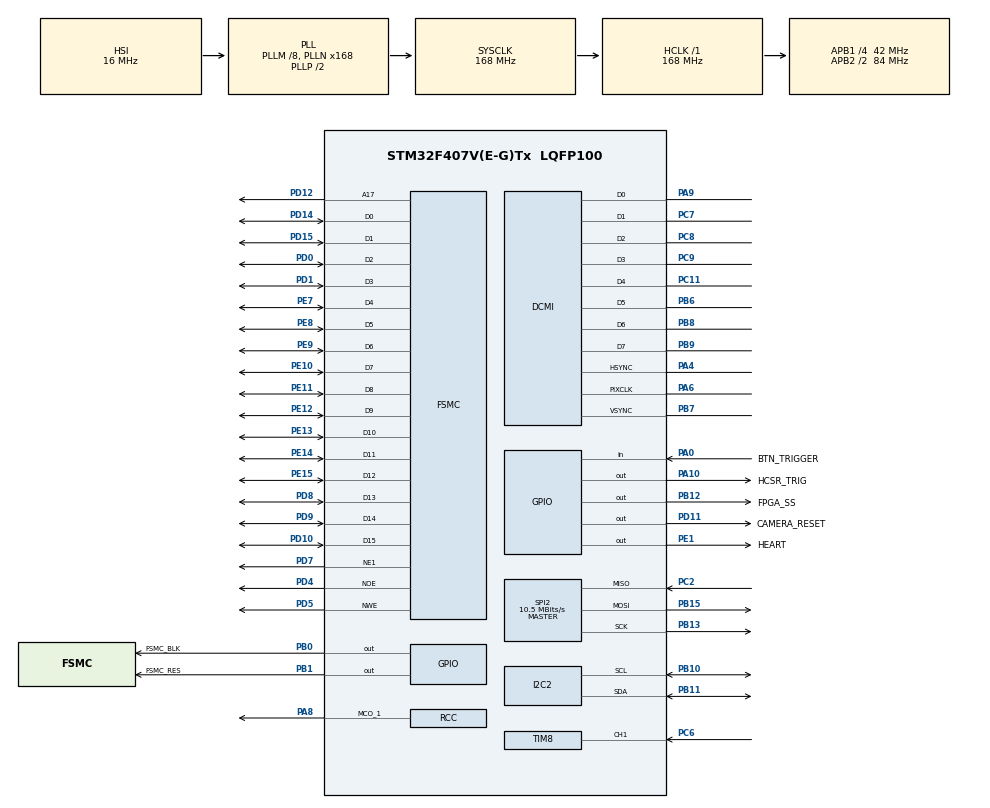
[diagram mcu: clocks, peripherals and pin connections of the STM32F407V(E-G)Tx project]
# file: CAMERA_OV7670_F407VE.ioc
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DCMI.HSPolarity=DCMI_HSPOLARITY_LOW
DCMI.PCKPolarity=DCMI_PCKPOLARITY_RISING
DCMI.VSPolarity=DCMI_VSPOLARITY_HIGH
Dma.DCMI.0.Direction=DMA_PERIPH_TO_MEMORY
Dma.DCMI.0.FIFOMode=DMA_FIFOMODE_DISABLE
Dma.DCMI.0.Instance=DMA2_Stream1
Dma.DCMI.0.MemDataAlignment=DMA_MDATAALIGN_WORD
Dma.DCMI.0.MemInc=DMA_MINC_DISABLE
Dma.DCMI.0.Mode=DMA_NORMAL
Dma.DCMI.0.PeriphDataAlignment=DMA_PDATAALIGN_WORD
Dma.DCMI.0.PeriphInc=DMA_PINC_DISABLE
Dma.DCMI.0.Priority=DMA_PRIORITY_LOW
Dma.Request0=DCMI
FSMC.AddressSetupTime1=0xf
FSMC.BusTurnAroundDuration1=0
FSMC.DataSetupTime1=60
FSMC.ExtendedAddressSetupTime1=8
FSMC.ExtendedBusTurnAroundDuration1=0
FSMC.ExtendedDataSetupTime1=9
FSMC.ExtendedMode1=FSMC_EXTENDED_MODE_ENABLE
Mcu.Family=STM32F4
Mcu.Name=STM32F407V(E-G)Tx
Mcu.Package=LQFP100
NVIC.DCMI_IRQn=true\:0\:0\:false\:false\:true\:true\:true
NVIC.DMA2_Stream1_IRQn=true\:0\:0\:false\:false\:true\:false\:true
NVIC.I2C2_ER_IRQn=true\:0\:0\:false\:false\:true\:true\:true
NVIC.I2C2_EV_IRQn=true\:0\:0\:false\:false\:true\:true\:true
NVIC.PriorityGroup=NVIC_PRIORITYGROUP_4
NVIC.TIM2_IRQn=true\:0\:0\:false\:false\:true\:true\:true
NVIC.TIM3_IRQn=true\:0\:0\:false\:false\:true\:true\:true
NVIC.TIM8_CC_IRQn=true\:0\:0\:false\:false\:true\:true\:true
PA0-WKUP.GPIO_Label=BTN_TRIGGER
PA0-WKUP.GPIO_PuPd=GPIO_PULLDOWN
PA0-WKUP.Signal=GPIO_Input
PA10.GPIO_Label=HCSR_TRIG
PA10.Signal=GPIO_Output
PA13.Mode=Serial_Wire
PA13.Signal=SYS_JTMS-SWDIO
PA14.Mode=Serial_Wire
PA14.Signal=SYS_JTCK-SWCLK
PA4.GPIO_PuPd=GPIO_PULLDOWN
PA4.GPIO_Speed=GPIO_SPEED_FREQ_VERY_HIGH
PA4.Mode=Slave_8_bits_External_Synchro
PA4.Signal=DCMI_HSYNC
PA6.GPIO_PuPd=GPIO_PULLDOWN
PA6.GPIO_Speed=GPIO_SPEED_FREQ_VERY_HIGH
PA6.Mode=Slave_8_bits_External_Synchro
PA6.Signal=DCMI_PIXCLK
PA8.GPIO_PuPd=GPIO_PULLUP
PA8.GPIO_Speed=GPIO_SPEED_FREQ_VERY_HIGH
PA8.Mode=Clock-out-1
PA8.Signal=RCC_MCO_1
PA9.GPIO_PuPd=GPIO_PULLDOWN
PA9.GPIO_Speed=GPIO_SPEED_FREQ_VERY_HIGH
PA9.Mode=Slave_8_bits_External_Synchro
PA9.Signal=DCMI_D0
PB0.GPIO_Label=FSMC_BLK
PB0.Signal=GPIO_Output
PB1.GPIO_Label=FSMC_RES
PB1.Signal=GPIO_Output
PB10.GPIO_Pu=GPIO_PULLUP
PB10.Mode=I2C
PB10.Signal=I2C2_SCL
PB11.GPIO_Pu=GPIO_PULLUP
PB11.Mode=I2C
PB11.Signal=I2C2_SDA
PB12.GPIO_Label=FPGA_SS
PB12.Signal=GPIO_Output
PB13.Mode=Full_Duplex_Master
PB13.Signal=SPI2_SCK
PB15.Mode=Full_Duplex_Master
PB15.Signal=SPI2_MOSI
PB6.GPIO_PuPd=GPIO_PULLDOWN
PB6.GPIO_Speed=GPIO_SPEED_FREQ_VERY_HIGH
PB6.Mode=Slave_8_bits_External_Synchro
PB6.Signal=DCMI_D5
PB7.GPIO_PuPd=GPIO_PULLDOWN
PB7.GPIO_Speed=GPIO_SPEED_FREQ_VERY_HIGH
PB7.Mode=Slave_8_bits_External_Synchro
PB7.Signal=DCMI_VSYNC
PB8.GPIO_PuPd=GPIO_PULLDOWN
PB8.GPIO_Speed=GPIO_SPEED_FREQ_VERY_HIGH
PB8.Mode=Slave_8_bits_External_Synchro
PB8.Signal=DCMI_D6
PB9.GPIO_PuPd=GPIO_PULLDOWN
PB9.GPIO_Speed=GPIO_SPEED_FREQ_VERY_HIGH
PB9.Mode=Slave_8_bits_External_Synchro
PB9.Signal=DCMI_D7
PC11.GPIO_PuPd=GPIO_PULLDOWN
PC11.GPIO_Speed=GPIO_SPEED_FREQ_VERY_HIGH
PC11.Mode=Slave_8_bits_External_Synchro
PC11.Signal=DCMI_D4
PC2.Mode=Full_Duplex_Master
PC2.Signal=SPI2_MISO
PC6.Signal=S_TIM8_CH1
PC7.GPIO_PuPd=GPIO_PULLDOWN
PC7.GPIO_Speed=GPIO_SPEED_FREQ_VERY_HIGH
PC7.Mode=Slave_8_bits_External_Synchro
PC7.Signal=DCMI_D1
PC8.GPIO_PuPd=GPIO_PULLDOWN
PC8.GPIO_Speed=GPIO_SPEED_FREQ_VERY_HIGH
PC8.Mode=Slave_8_bits_External_Synchro
PC8.Signal=DCMI_D2
PC9.GPIO_PuPd=GPIO_PULLDOWN
PC9.GPIO_Speed=GPIO_SPEED_FREQ_VERY_HIGH
PC9.Mode=Slave_8_bits_External_Synchro
PC9.Signal=DCMI_D3
PD0.Mode=16b-d1
PD0.Signal=FSMC_D2
PD1.Mode=16b-d1
PD1.Signal=FSMC_D3
PD10.Mode=16b-d1
PD10.Signal=FSMC_D15
PD11.GPIO_Label=CAMERA_RESET
PD11.GPIO_PuPd=GPIO_NOPULL
PD11.Signal=GPIO_Output
PD12.Mode=A17_1
PD12.Signal=FSMC_A17
PD14.Mode=16b-d1
PD14.Signal=FSMC_D0
PD15.Mode=16b-d1
PD15.Signal=FSMC_D1
PD4.Mode=Lcd1
PD4.Signal=FSMC_NOE
PD5.Mode=Lcd1
PD5.Signal=FSMC_NWE
PD7.Mode=NorPsramChipSelect1_1
PD7.Signal=FSMC_NE1
PD8.Mode=16b-d1
PD8.Signal=FSMC_D13
PD9.Mode=16b-d1
PD9.Signal=FSMC_D14
PE1.GPIO_Label=HEART
PE1.Signal=GPIO_Output
PE10.Mode=16b-d1
PE10.Signal=FSMC_D7
PE11.Mode=16b-d1
PE11.Signal=FSMC_D8
PE12.Mode=16b-d1
PE12.Signal=FSMC_D9
PE13.Mode=16b-d1
PE13.Signal=FSMC_D10
PE14.Mode=16b-d1
PE14.Signal=FSMC_D11
PE15.Mode=16b-d1
PE15.Signal=FSMC_D12
PE7.Mode=16b-d1
PE7.Signal=FSMC_D4
PE8.Mode=16b-d1
PE8.Signal=FSMC_D5
PE9.Mode=16b-d1
PE9.Signal=FSMC_D6
PH0-OSC_IN.Mode=HSE-External-Oscillator
PH0-OSC_IN.Signal=RCC_OSC_IN
PH1-OSC_OUT.Mode=HSE-External-Oscillator
PH1-OSC_OUT.Signal=RCC_OSC_OUT
ProjectManager.HeapSize=0x200
ProjectManager.StackSize=0x400
ProjectManager.TargetToolchain=STM32CubeIDE
RCC.48MHZClocksFreq_Value=48000000
RCC.AHBFreq_Value=168000000
RCC.APB1CLKDivider=RCC_HCLK_DIV4
RCC.APB1Freq_Value=42000000
RCC.APB1TimFreq_Value=84000000
RCC.APB2CLKDivider=RCC_HCLK_DIV2
RCC.APB2Freq_Value=84000000
RCC.APB2TimFreq_Value=168000000
RCC.CortexFreq_Value=168000000
RCC.HCLKFreq_Value=168000000
RCC.HSE_VALUE=8000000
RCC.HSI_VALUE=16000000
RCC.LSE_VALUE=32768
RCC.PLLM=8
RCC.PLLN=168
RCC.PLLQ=7
RCC.SYSCLKFreq_VALUE=168000000
RCC.SYSCLKSource=RCC_SYSCLKSOURCE_PLLCLK
RCC.VCOOutputFreq_Value=336000000
SH.S_TIM8_CH1.0=TIM8_CH1,Input_Capture1_from_TI1
SPI2.BaudRatePrescaler=SPI_BAUDRATEPRESCALER_4
SPI2.CalculateBaudRate=10.5 MBits/s
SPI2.Direction=SPI_DIRECTION_2LINES
SPI2.Mode=SPI_MODE_MASTER
SPI2.VirtualType=VM_MASTER
TIM2.Period=16
TIM2.Prescaler=0
TIM3.Period=99
TIM3.Prescaler=16799
TIM8.Channel-Input_Capture1_from_TI1=TIM_CHANNEL_1
TIM8.Period=0xffff
TIM8.Prescaler=168-1
VP_TIM2_VS_ClockSourceINT.Mode=Internal
VP_TIM3_VS_ClockSourceINT.Mode=Internal
board=custom

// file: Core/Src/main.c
/* USER CODE BEGIN Header */
/**
  ******************************************************************************
  * @file           : main.c
  * @brief          : Main program body
  ******************************************************************************
  * @attention
  *
  * <h2><center>&copy; Copyright (c) 2025 STMicroelectronics.
  * All rights reserved.</center></h2>
  *
  * This software component is licensed by ST under BSD 3-Clause license,
  * the "License"; You may not use this file except in compliance with the
  * License. You may obtain a copy of the License at:
  *                        opensource.org/licenses/BSD-3-Clause
  *
  ******************************************************************************
  */
/* USER CODE END Header */
#include "main.h"

/* USER CODE BEGIN PD */
#define FRAME_WIDTH 	160
#define FRAME_HEIGHT	120
/* USER CODE END PD */

DCMI_HandleTypeDef hdcmi;
DMA_HandleTypeDef hdma_dcmi;

I2C_HandleTypeDef hi2c2;

SPI_HandleTypeDef hspi2;

TIM_HandleTypeDef htim2;
TIM_HandleTypeDef htim3;
TIM_HandleTypeDef htim8;

SRAM_HandleTypeDef hsram1;

void SystemClock_Config(void);
static void MX_GPIO_Init(void);
static void MX_DCMI_Init(void);
static void MX_DMA_Init(void);
static void MX_FSMC_Init(void);
static void MX_I2C2_Init(void);
static void MX_TIM2_Init(void);
static void MX_TIM8_Init(void);
static void MX_TIM3_Init(void);
static void MX_SPI2_Init(void);

/* USER CODE BEGIN 0 */
int frame_captured = 0;
int cam_busy = 0;

uint8_t buf[160*120];

/* USER CODE END 0 */

int main(void)
{

  /* MCU Configuration--------------------------------------------------------*/

  /* Reset of all peripherals, Initializes the Flash interface and the Systick. */
  HAL_Init();

  /* Configure the system clock */
  SystemClock_Config();

  /* Initialize all configured peripherals */
  MX_GPIO_Init();
  MX_DMA_Init();
  MX_DCMI_Init();
  MX_FSMC_Init();
  MX_I2C2_Init();
  MX_TIM2_Init();
  MX_TIM8_Init();
  MX_TIM3_Init();
  MX_SPI2_Init();
  /* USER CODE BEGIN 2 */
  HAL_TIM_IC_Start_IT(&htim8, TIM_CHANNEL_1);
  HAL_TIM_Base_Start_IT(&htim3);

  uint16_t* pData;
  lcd_ILI_init();
  HAL_Delay(1000);
  ov7670_init(&hdcmi, &hdma_dcmi, &hi2c2);
  ov7670_config();

  lcd_ILI_draw_rect(0, 0, LCD_ILI_WIDTH, LCD_ILI_HEIGHT, COLOR_RED);
  HAL_Delay(1000);

  /* USER CODE END 2 */

  /* Infinite loop */
  /* USER CODE BEGIN WHILE */

    while (1)
    {
    	if((is_object_arrived() || HAL_GPIO_ReadPin(GPIOA, GPIO_PIN_0) == GPIO_PIN_SET) && !cam_busy)
		{
    		if(HAL_GPIO_ReadPin(GPIOA, GPIO_PIN_0) == GPIO_PIN_SET)
    		{
    			HAL_Delay(200); // chống rung
    		}
			cam_busy = 1;
			pData = lcd_ILI_get_draw_addr();
			ov7670_startCap(OV7670_CAP_SINGLE_FRAME, (uint32_t)pData);
		}

		if(frame_captured)
		{
			// RGB DEBUGGING VERSION //
//			lcd_ILI_get_subframe_RGB565(buf, FRAME_WIDTH, FRAME_HEIGHT);
//			lcd_ILI_display_frame_RGB565(buf, FRAME_WIDTH, FRAME_HEIGHT);

			// GREYSCALE -> FPGA VERSION //
			lcd_ILI_get_subframe_Grey(buf, FRAME_WIDTH, FRAME_HEIGHT);
			lcd_ILI_display_frame_Grey(buf, FRAME_WIDTH, FRAME_HEIGHT);

			FPGA_Send_Image(buf, FRAME_WIDTH, FRAME_HEIGHT);

			frame_captured = 0;
			cam_busy = 0;
		}
    /* USER CODE END WHILE */

    }
}

void SystemClock_Config(void)
{
  RCC_OscInitTypeDef RCC_OscInitStruct = {0};
  RCC_ClkInitTypeDef RCC_ClkInitStruct = {0};

  /** Configure the main internal regulator output voltage
  */
  __HAL_RCC_PWR_CLK_ENABLE();
  __HAL_PWR_VOLTAGESCALING_CONFIG(PWR_REGULATOR_VOLTAGE_SCALE1);
  /** Initializes the RCC Oscillators according to the specified parameters
  * in the RCC_OscInitTypeDef structure.
  */
  RCC_OscInitStruct.OscillatorType = RCC_OSCILLATORTYPE_HSI;
  RCC_OscInitStruct.HSIState = RCC_HSI_ON;
  RCC_OscInitStruct.HSICalibrationValue = RCC_HSICALIBRATION_DEFAULT;
  RCC_OscInitStruct.PLL.PLLState = RCC_PLL_ON;
  RCC_OscInitStruct.PLL.PLLSource = RCC_PLLSOURCE_HSI;
  RCC_OscInitStruct.PLL.PLLM = 8;
  RCC_OscInitStruct.PLL.PLLN = 168;
  RCC_OscInitStruct.PLL.PLLP = RCC_PLLP_DIV2;
  RCC_OscInitStruct.PLL.PLLQ = 7;
  if (HAL_RCC_OscConfig(&RCC_OscInitStruct) != HAL_OK)
  {
    Error_Handler();
  }
  /** Initializes the CPU, AHB and APB buses clocks
  */
  RCC_ClkInitStruct.ClockType = RCC_CLOCKTYPE_HCLK|RCC_CLOCKTYPE_SYSCLK
                              |RCC_CLOCKTYPE_PCLK1|RCC_CLOCKTYPE_PCLK2;
  RCC_ClkInitStruct.SYSCLKSource = RCC_SYSCLKSOURCE_PLLCLK;
  RCC_ClkInitStruct.AHBCLKDivider = RCC_SYSCLK_DIV1;
  RCC_ClkInitStruct.APB1CLKDivider = RCC_HCLK_DIV4;
  RCC_ClkInitStruct.APB2CLKDivider = RCC_HCLK_DIV2;

  if (HAL_RCC_ClockConfig(&RCC_ClkInitStruct, FLASH_LATENCY_5) != HAL_OK)
  {
    Error_Handler();
  }
  HAL_RCC_MCOConfig(RCC_MCO1, RCC_MCO1SOURCE_HSI, RCC_MCODIV_1);
}

static void MX_DCMI_Init(void)
{

  hdcmi.Instance = DCMI;
  hdcmi.Init.SynchroMode = DCMI_SYNCHRO_HARDWARE;
  hdcmi.Init.PCKPolarity = DCMI_PCKPOLARITY_RISING;
  hdcmi.Init.VSPolarity = DCMI_VSPOLARITY_HIGH;
  hdcmi.Init.HSPolarity = DCMI_HSPOLARITY_LOW;
  hdcmi.Init.CaptureRate = DCMI_CR_ALL_FRAME;
  hdcmi.Init.ExtendedDataMode = DCMI_EXTEND_DATA_8B;
  hdcmi.Init.JPEGMode = DCMI_JPEG_DISABLE;
  if (HAL_DCMI_Init(&hdcmi) != HAL_OK)
  {
    Error_Handler();
  }

}

static void MX_I2C2_Init(void)
{

  hi2c2.Instance = I2C2;
  hi2c2.Init.ClockSpeed = 100000;
  hi2c2.Init.DutyCycle = I2C_DUTYCYCLE_2;
  hi2c2.Init.OwnAddress1 = 0;
  hi2c2.Init.AddressingMode = I2C_ADDRESSINGMODE_7BIT;
  hi2c2.Init.DualAddressMode = I2C_DUALADDRESS_DISABLE;
  hi2c2.Init.OwnAddress2 = 0;
  hi2c2.Init.GeneralCallMode = I2C_GENERALCALL_DISABLE;
  hi2c2.Init.NoStretchMode = I2C_NOSTRETCH_DISABLE;
  if (HAL_I2C_Init(&hi2c2) != HAL_OK)
  {
    Error_Handler();
  }

}

static void MX_SPI2_Init(void)
{

  /* SPI2 parameter configuration*/
  hspi2.Instance = SPI2;
  hspi2.Init.Mode = SPI_MODE_MASTER;
  hspi2.Init.Direction = SPI_DIRECTION_2LINES;
  hspi2.Init.DataSize = SPI_DATASIZE_8BIT;
  hspi2.Init.CLKPolarity = SPI_POLARITY_LOW;
  hspi2.Init.CLKPhase = SPI_PHASE_1EDGE;
  hspi2.Init.NSS = SPI_NSS_SOFT;
  hspi2.Init.BaudRatePrescaler = SPI_BAUDRATEPRESCALER_4;
  hspi2.Init.FirstBit = SPI_FIRSTBIT_MSB;
  hspi2.Init.TIMode = SPI_TIMODE_DISABLE;
  hspi2.Init.CRCCalculation = SPI_CRCCALCULATION_DISABLE;
  hspi2.Init.CRCPolynomial = 10;
  if (HAL_SPI_Init(&hspi2) != HAL_OK)
  {
    Error_Handler();
  }

}

static void MX_TIM2_Init(void)
{

  TIM_ClockConfigTypeDef sClockSourceConfig = {0};
  TIM_MasterConfigTypeDef sMasterConfig = {0};

  htim2.Instance = TIM2;
  htim2.Init.Prescaler = 0;
  htim2.Init.CounterMode = TIM_COUNTERMODE_UP;
  htim2.Init.Period = 16;
  htim2.Init.ClockDivision = TIM_CLOCKDIVISION_DIV1;
  htim2.Init.AutoReloadPreload = TIM_AUTORELOAD_PRELOAD_DISABLE;
  if (HAL_TIM_Base_Init(&htim2) != HAL_OK)
  {
    Error_Handler();
  }
  sClockSourceConfig.ClockSource = TIM_CLOCKSOURCE_INTERNAL;
  if (HAL_TIM_ConfigClockSource(&htim2, &sClockSourceConfig) != HAL_OK)
  {
    Error_Handler();
  }
  sMasterConfig.MasterOutputTrigger = TIM_TRGO_RESET;
  sMasterConfig.MasterSlaveMode = TIM_MASTERSLAVEMODE_DISABLE;
  if (HAL_TIMEx_MasterConfigSynchronization(&htim2, &sMasterConfig) != HAL_OK)
  {
    Error_Handler();
  }

}

static void MX_TIM3_Init(void)
{

  TIM_ClockConfigTypeDef sClockSourceConfig = {0};
  TIM_MasterConfigTypeDef sMasterConfig = {0};

  htim3.Instance = TIM3;
  htim3.Init.Prescaler = 16799;
  htim3.Init.CounterMode = TIM_COUNTERMODE_UP;
  htim3.Init.Period = 99;
  htim3.Init.ClockDivision = TIM_CLOCKDIVISION_DIV1;
  htim3.Init.AutoReloadPreload = TIM_AUTORELOAD_PRELOAD_DISABLE;
  if (HAL_TIM_Base_Init(&htim3) != HAL_OK)
  {
    Error_Handler();
  }
  sClockSourceConfig.ClockSource = TIM_CLOCKSOURCE_INTERNAL;
  if (HAL_TIM_ConfigClockSource(&htim3, &sClockSourceConfig) != HAL_OK)
  {
    Error_Handler();
  }
  sMasterConfig.MasterOutputTrigger = TIM_TRGO_RESET;
  sMasterConfig.MasterSlaveMode = TIM_MASTERSLAVEMODE_DISABLE;
  if (HAL_TIMEx_MasterConfigSynchronization(&htim3, &sMasterConfig) != HAL_OK)
  {
    Error_Handler();
  }

}

static void MX_TIM8_Init(void)
{

  TIM_MasterConfigTypeDef sMasterConfig = {0};
  TIM_IC_InitTypeDef sConfigIC = {0};

  htim8.Instance = TIM8;
  htim8.Init.Prescaler = 168-1;
  htim8.Init.CounterMode = TIM_COUNTERMODE_UP;
  htim8.Init.Period = 0xffff;
  htim8.Init.ClockDivision = TIM_CLOCKDIVISION_DIV1;
  htim8.Init.RepetitionCounter = 0;
  htim8.Init.AutoReloadPreload = TIM_AUTORELOAD_PRELOAD_DISABLE;
  if (HAL_TIM_IC_Init(&htim8) != HAL_OK)
  {
    Error_Handler();
  }
  sMasterConfig.MasterOutputTrigger = TIM_TRGO_RESET;
  sMasterConfig.MasterSlaveMode = TIM_MASTERSLAVEMODE_DISABLE;
  if (HAL_TIMEx_MasterConfigSynchronization(&htim8, &sMasterConfig) != HAL_OK)
  {
    Error_Handler();
  }
  sConfigIC.ICPolarity = TIM_INPUTCHANNELPOLARITY_RISING;
  sConfigIC.ICSelection = TIM_ICSELECTION_DIRECTTI;
  sConfigIC.ICPrescaler = TIM_ICPSC_DIV1;
  sConfigIC.ICFilter = 0;
  if (HAL_TIM_IC_ConfigChannel(&htim8, &sConfigIC, TIM_CHANNEL_1) != HAL_OK)
  {
    Error_Handler();
  }

}

static void MX_DMA_Init(void)
{

  /* DMA controller clock enable */
  __HAL_RCC_DMA2_CLK_ENABLE();

  /* DMA interrupt init */
  /* DMA2_Stream1_IRQn interrupt configuration */
  HAL_NVIC_SetPriority(DMA2_Stream1_IRQn, 0, 0);
  HAL_NVIC_EnableIRQ(DMA2_Stream1_IRQn);

}

static void MX_GPIO_Init(void)
{
  GPIO_InitTypeDef GPIO_InitStruct = {0};

  /* GPIO Ports Clock Enable */
  __HAL_RCC_GPIOH_CLK_ENABLE();
  __HAL_RCC_GPIOC_CLK_ENABLE();
  __HAL_RCC_GPIOA_CLK_ENABLE();
  __HAL_RCC_GPIOB_CLK_ENABLE();
  __HAL_RCC_GPIOE_CLK_ENABLE();
  __HAL_RCC_GPIOD_CLK_ENABLE();

  /*Configure GPIO pin Output Level */
  HAL_GPIO_WritePin(GPIOB, FSMC_BLK_Pin|FSMC_RES_Pin|FPGA_SS_Pin, GPIO_PIN_RESET);

  /*Configure GPIO pin Output Level */
  HAL_GPIO_WritePin(CAMERA_RESET_GPIO_Port, CAMERA_RESET_Pin, GPIO_PIN_RESET);

  /*Configure GPIO pin Output Level */
  HAL_GPIO_WritePin(HCSR_TRIG_GPIO_Port, HCSR_TRIG_Pin, GPIO_PIN_RESET);

  /*Configure GPIO pin Output Level */
  HAL_GPIO_WritePin(HEART_GPIO_Port, HEART_Pin, GPIO_PIN_RESET);

  /*Configure GPIO pin : BTN_TRIGGER_Pin */
  GPIO_InitStruct.Pin = BTN_TRIGGER_Pin;
  GPIO_InitStruct.Mode = GPIO_MODE_INPUT;
  GPIO_InitStruct.Pull = GPIO_PULLDOWN;
  HAL_GPIO_Init(BTN_TRIGGER_GPIO_Port, &GPIO_InitStruct);

  /*Configure GPIO pins : FSMC_BLK_Pin FSMC_RES_Pin FPGA_SS_Pin */
  GPIO_InitStruct.Pin = FSMC_BLK_Pin|FSMC_RES_Pin|FPGA_SS_Pin;
  GPIO_InitStruct.Mode = GPIO_MODE_OUTPUT_PP;
  GPIO_InitStruct.Pull = GPIO_NOPULL;
  GPIO_InitStruct.Speed = GPIO_SPEED_FREQ_LOW;
  HAL_GPIO_Init(GPIOB, &GPIO_InitStruct);

  /*Configure GPIO pin : CAMERA_RESET_Pin */
  GPIO_InitStruct.Pin = CAMERA_RESET_Pin;
  GPIO_InitStruct.Mode = GPIO_MODE_OUTPUT_PP;
  GPIO_InitStruct.Pull = GPIO_NOPULL;
  GPIO_InitStruct.Speed = GPIO_SPEED_FREQ_LOW;
  HAL_GPIO_Init(CAMERA_RESET_GPIO_Port, &GPIO_InitStruct);

  /*Configure GPIO pin : PA8 */
  GPIO_InitStruct.Pin = GPIO_PIN_8;
  GPIO_InitStruct.Mode = GPIO_MODE_AF_PP;
  GPIO_InitStruct.Pull = GPIO_PULLUP;
  GPIO_InitStruct.Speed = GPIO_SPEED_FREQ_VERY_HIGH;
  GPIO_InitStruct.Alternate = GPIO_AF0_MCO;
  HAL_GPIO_Init(GPIOA, &GPIO_InitStruct);

  /*Configure GPIO pin : HCSR_TRIG_Pin */
  GPIO_InitStruct.Pin = HCSR_TRIG_Pin;
  GPIO_InitStruct.Mode = GPIO_MODE_OUTPUT_PP;
  GPIO_InitStruct.Pull = GPIO_NOPULL;
  GPIO_InitStruct.Speed = GPIO_SPEED_FREQ_LOW;
  HAL_GPIO_Init(HCSR_TRIG_GPIO_Port, &GPIO_InitStruct);

  /*Configure GPIO pin : HEART_Pin */
  GPIO_InitStruct.Pin = HEART_Pin;
  GPIO_InitStruct.Mode = GPIO_MODE_OUTPUT_PP;
  GPIO_InitStruct.Pull = GPIO_NOPULL;
  GPIO_InitStruct.Speed = GPIO_SPEED_FREQ_LOW;
  HAL_GPIO_Init(HEART_GPIO_Port, &GPIO_InitStruct);

}

/* FSMC initialization function */
static void MX_FSMC_Init(void)
{

  FSMC_NORSRAM_TimingTypeDef Timing = {0};
  FSMC_NORSRAM_TimingTypeDef ExtTiming = {0};

  /** Perform the SRAM1 memory initialization sequence
  */
  hsram1.Instance = FSMC_NORSRAM_DEVICE;
  hsram1.Extended = FSMC_NORSRAM_EXTENDED_DEVICE;
  /* hsram1.Init */
  hsram1.Init.NSBank = FSMC_NORSRAM_BANK1;
  hsram1.Init.DataAddressMux = FSMC_DATA_ADDRESS_MUX_DISABLE;
  hsram1.Init.MemoryType = FSMC_MEMORY_TYPE_SRAM;
  hsram1.Init.MemoryDataWidth = FSMC_NORSRAM_MEM_BUS_WIDTH_16;
  hsram1.Init.BurstAccessMode = FSMC_BURST_ACCESS_MODE_DISABLE;
  hsram1.Init.WaitSignalPolarity = FSMC_WAIT_SIGNAL_POLARITY_LOW;
  hsram1.Init.WrapMode = FSMC_WRAP_MODE_DISABLE;
  hsram1.Init.WaitSignalActive = FSMC_WAIT_TIMING_BEFORE_WS;
  hsram1.Init.WriteOperation = FSMC_WRITE_OPERATION_ENABLE;
  hsram1.Init.WaitSignal = FSMC_WAIT_SIGNAL_DISABLE;
  hsram1.Init.ExtendedMode = FSMC_EXTENDED_MODE_ENABLE;
  hsram1.Init.AsynchronousWait = FSMC_ASYNCHRONOUS_WAIT_DISABLE;
  hsram1.Init.WriteBurst = FSMC_WRITE_BURST_DISABLE;
  hsram1.Init.PageSize = FSMC_PAGE_SIZE_NONE;
  /* Timing */
  Timing.AddressSetupTime = 0xf;
  Timing.AddressHoldTime = 15;
  Timing.DataSetupTime = 60;
  Timing.BusTurnAroundDuration = 0;
  Timing.CLKDivision = 16;
  Timing.DataLatency = 17;
  Timing.AccessMode = FSMC_ACCESS_MODE_A;
  /* ExtTiming */
  ExtTiming.AddressSetupTime = 8;
  ExtTiming.AddressHoldTime = 15;
  ExtTiming.DataSetupTime = 9;
  ExtTiming.BusTurnAroundDuration = 0;
  ExtTiming.CLKDivision = 16;
  ExtTiming.DataLatency = 17;
  ExtTiming.AccessMode = FSMC_ACCESS_MODE_A;

  if (HAL_SRAM_Init(&hsram1, &Timing, &ExtTiming) != HAL_OK)
  {
    Error_Handler( );
  }

}

/* USER CODE BEGIN 4 */
static int count = 0;
float dis = 0;
void HAL_TIM_PeriodElapsedCallback(TIM_HandleTypeDef *htim)
{
    if (htim->Instance == TIM3){
    	count++;
    	if(count >= 5)
    	{
        	dis = fsm_hcsr04_reading();
        	count = 0;
    	}
    }

}
/* USER CODE END 4 */

void Error_Handler(void)
{
  __disable_irq();
  while (1)
  {
  }
}

/************************ (C) COPYRIGHT STMicroelectronics *****END OF FILE****/
